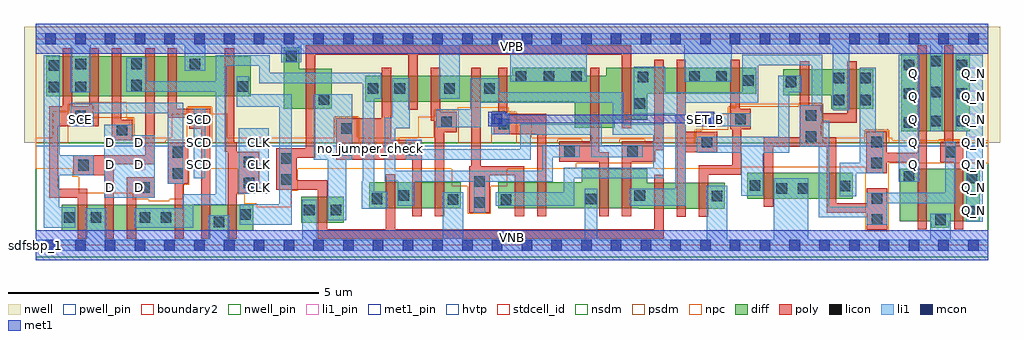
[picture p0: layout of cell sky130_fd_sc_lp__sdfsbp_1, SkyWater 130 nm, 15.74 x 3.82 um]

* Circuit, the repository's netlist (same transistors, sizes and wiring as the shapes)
* Copyright 2020 The SkyWater PDK Authors
*
* Licensed under the Apache License, Version 2.0 (the "License");
* you may not use this file except in compliance with the License.
* You may obtain a copy of the License at
*
*     https://www.apache.org/licenses/LICENSE-2.0
*
* Unless required by applicable law or agreed to in writing, software
* distributed under the License is distributed on an "AS IS" BASIS,
* WITHOUT WARRANTIES OR CONDITIONS OF ANY KIND, either express or implied.
* See the License for the specific language governing permissions and
* limitations under the License.
*
* SPDX-License-Identifier: Apache-2.0

.SUBCKT sky130_fd_sc_lp__sdfsbp_1 CLK D SCD SCE SET_B VGND VNB VPB VPWR Q Q_N
*.PININFO CLK:I D:I SCD:I SCE:I SET_B:I VGND:I VNB:I VPB:I VPWR:I Q:O
*.PININFO Q_N:O
MI645 sceb SCE VPWR VPB sky130_fd_pr__pfet_01v8_hvt m=1 w=0.64U l=0.15U mult=1
+ sa=0.265 sb=0.265 sd=0.28 area=0.063 perim=1.14
MI658 M1 M0 VPWR VPB sky130_fd_pr__pfet_01v8_hvt m=1 w=0.42U l=0.15U mult=1 sa=0.265
+ sb=0.265 sd=0.28 area=0.063 perim=1.14
MI47 clkpos clkneg VPWR VPB sky130_fd_pr__pfet_01v8_hvt m=1 w=0.64U l=0.15U mult=1
+ sa=0.265 sb=0.265 sd=0.28 area=0.063 perim=1.14
MI663 net210 S0 VPWR VPB sky130_fd_pr__pfet_01v8_hvt m=1 w=0.64U l=0.15U mult=1
+ sa=0.265 sb=0.265 sd=0.28 area=0.063 perim=1.14
MI660 Q net210 VPWR VPB sky130_fd_pr__pfet_01v8_hvt m=1 w=1.26U l=0.15U mult=1
+ sa=0.265 sb=0.265 sd=0.28 area=0.063 perim=1.14
MI659 M1 SET_B VPWR VPB sky130_fd_pr__pfet_01v8_hvt m=1 w=0.42U l=0.15U mult=1
+ sa=0.265 sb=0.265 sd=0.28 area=0.063 perim=1.14
MI661 Q_N S0 VPWR VPB sky130_fd_pr__pfet_01v8_hvt m=1 w=1.26U l=0.15U mult=1 sa=0.265
+ sb=0.265 sd=0.28 area=0.063 perim=1.14
MI662 net145 M1 VPWR VPB sky130_fd_pr__pfet_01v8_hvt m=1 w=0.42U l=0.15U mult=1
+ sa=0.265 sb=0.265 sd=0.28 area=0.063 perim=1.14
MI664 M0 clkneg net145 VPB sky130_fd_pr__pfet_01v8_hvt m=1 w=0.42U l=0.15U mult=1
+ sa=0.265 sb=0.265 sd=0.28 area=0.063 perim=1.14
MI6 net137 S1 VPWR VPB sky130_fd_pr__pfet_01v8_hvt m=1 w=0.42U l=0.15U mult=1 sa=0.265
+ sb=0.265 sd=0.28 area=0.063 perim=1.14
MI669 S0 clkpos net137 VPB sky130_fd_pr__pfet_01v8_hvt m=1 w=0.42U l=0.15U mult=1
+ sa=0.265 sb=0.265 sd=0.28 area=0.063 perim=1.14
MI24 S0 SET_B VPWR VPB sky130_fd_pr__pfet_01v8_hvt m=1 w=0.42U l=0.15U mult=1 sa=0.265
+ sb=0.265 sd=0.28 area=0.063 perim=1.14
MI648 S1 S0 VPWR VPB sky130_fd_pr__pfet_01v8_hvt m=1 w=0.42U l=0.15U mult=1 sa=0.265
+ sb=0.265 sd=0.28 area=0.063 perim=1.14
MI38 S0 clkneg net125 VPB sky130_fd_pr__pfet_01v8_hvt m=1 w=0.84U l=0.15U mult=1
+ sa=0.265 sb=0.265 sd=0.28 area=0.063 perim=1.14
MI37 net125 M0 VPWR VPB sky130_fd_pr__pfet_01v8_hvt m=1 w=0.84U l=0.15U mult=1
+ sa=0.265 sb=0.265 sd=0.28 area=0.063 perim=1.14
MI43 db clkpos M0 VPB sky130_fd_pr__pfet_01v8_hvt m=1 w=0.42U l=0.15U mult=1 sa=0.265
+ sb=0.265 sd=0.28 area=0.063 perim=1.14
MI45 clkneg CLK VPWR VPB sky130_fd_pr__pfet_01v8_hvt m=1 w=0.64U l=0.15U mult=1
+ sa=0.265 sb=0.265 sd=0.28 area=0.063 perim=1.14
MI101 db sceb p1 VPB sky130_fd_pr__pfet_01v8_hvt m=1 w=0.64U l=0.15U mult=1 sa=0.265
+ sb=0.265 sd=0.28 area=0.063 perim=1.14
MI107 p0 SCE VPWR VPB sky130_fd_pr__pfet_01v8_hvt m=1 w=0.64U l=0.15U mult=1 sa=0.265
+ sb=0.265 sd=0.28 area=0.063 perim=1.14
MI94 db D p0 VPB sky130_fd_pr__pfet_01v8_hvt m=1 w=0.64U l=0.15U mult=1 sa=0.265
+ sb=0.265 sd=0.28 area=0.063 perim=1.14
MI108 p1 SCD VPWR VPB sky130_fd_pr__pfet_01v8_hvt m=1 w=0.64U l=0.15U mult=1 sa=0.265
+ sb=0.265 sd=0.28 area=0.063 perim=1.14
MI34 S0 clkpos net261 VNB sky130_fd_pr__nfet_01v8 m=1 w=0.64U l=0.15U mult=1 sa=0.265
+ sb=0.265 sd=0.28 area=0.063 perim=1.14
MI27 net258 S1 net202 VNB sky130_fd_pr__nfet_01v8 m=1 w=0.42U l=0.15U mult=1 sa=0.265
+ sb=0.265 sd=0.28 area=0.063 perim=1.14
MI647 S1 S0 VGND VNB sky130_fd_pr__nfet_01v8 m=1 w=0.42U l=0.15U mult=1 sa=0.265
+ sb=0.265 sd=0.28 area=0.063 perim=1.14
MI655 M0 clkpos net249 VNB sky130_fd_pr__nfet_01v8 m=1 w=0.42U l=0.15U mult=1 sa=0.265
+ sb=0.265 sd=0.28 area=0.063 perim=1.14
MI656 M1 M0 net245 VNB sky130_fd_pr__nfet_01v8 m=1 w=0.42U l=0.15U mult=1 sa=0.265
+ sb=0.265 sd=0.28 area=0.063 perim=1.14
MI654 net249 M1 VGND VNB sky130_fd_pr__nfet_01v8 m=1 w=0.42U l=0.15U mult=1 sa=0.265
+ sb=0.265 sd=0.28 area=0.063 perim=1.14
MI36 net261 M0 VGND VNB sky130_fd_pr__nfet_01v8 m=1 w=0.64U l=0.15U mult=1 sa=0.265
+ sb=0.265 sd=0.28 area=0.063 perim=1.14
MI26 S0 clkneg net258 VNB sky130_fd_pr__nfet_01v8 m=1 w=0.42U l=0.15U mult=1 sa=0.265
+ sb=0.265 sd=0.28 area=0.063 perim=1.14
MI42 db clkneg M0 VNB sky130_fd_pr__nfet_01v8 m=1 w=0.42U l=0.15U mult=1 sa=0.265
+ sb=0.265 sd=0.28 area=0.063 perim=1.14
MI651 Q_N S0 VGND VNB sky130_fd_pr__nfet_01v8 m=1 w=0.84U l=0.15U mult=1 sa=0.265
+ sb=0.265 sd=0.28 area=0.063 perim=1.14
MI46 clkpos clkneg VGND VNB sky130_fd_pr__nfet_01v8 m=1 w=0.42U l=0.15U mult=1
+ sa=0.265 sb=0.265 sd=0.28 area=0.063 perim=1.14
MI44 clkneg CLK VGND VNB sky130_fd_pr__nfet_01v8 m=1 w=0.42U l=0.15U mult=1 sa=0.265
+ sb=0.265 sd=0.28 area=0.063 perim=1.14
MI657 net245 SET_B VGND VNB sky130_fd_pr__nfet_01v8 m=1 w=0.42U l=0.15U mult=1
+ sa=0.265 sb=0.265 sd=0.28 area=0.063 perim=1.14
MI652 net210 S0 VGND VNB sky130_fd_pr__nfet_01v8 m=1 w=0.42U l=0.15U mult=1 sa=0.265
+ sb=0.265 sd=0.28 area=0.063 perim=1.14
MI644 sceb SCE VGND VNB sky130_fd_pr__nfet_01v8 m=1 w=0.42U l=0.15U mult=1 sa=0.265
+ sb=0.265 sd=0.28 area=0.063 perim=1.14
MI25 net202 SET_B VGND VNB sky130_fd_pr__nfet_01v8 m=1 w=0.42U l=0.15U mult=1 sa=0.265
+ sb=0.265 sd=0.28 area=0.063 perim=1.14
MI653 Q net210 VGND VNB sky130_fd_pr__nfet_01v8 m=1 w=0.84U l=0.15U mult=1 sa=0.265
+ sb=0.265 sd=0.28 area=0.063 perim=1.14
MI98 db D n0 VNB sky130_fd_pr__nfet_01v8 m=1 w=0.42U l=0.15U mult=1 sa=0.265 sb=0.265
+ sd=0.28 area=0.525 perim=3.1
MI103 n1 SCD VGND VNB sky130_fd_pr__nfet_01v8 m=1 w=0.42U l=0.15U mult=1 sa=0.265
+ sb=0.265 sd=0.28 area=0.525 perim=3.1
MI120 db SCE n1 VNB sky130_fd_pr__nfet_01v8 m=1 w=0.42U l=0.15U mult=1 sa=0.265
+ sb=0.265 sd=0.28 area=0.525 perim=3.1
MI104 n0 sceb VGND VNB sky130_fd_pr__nfet_01v8 m=1 w=0.42U l=0.15U mult=1 sa=0.265
+ sb=0.265 sd=0.28 area=0.525 perim=3.1
.ENDS sky130_fd_sc_lp__sdfsbp_1

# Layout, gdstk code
import gdstk
lib = gdstk.Library(unit=1e-6, precision=1e-09)
def R(c, l, rs):  # rectangles x0, y0, x1, y1
    for r in rs: c.add(gdstk.rectangle(r[:2], r[2:], *l))
def A(c, l, x, y, w, h, nx, ny, dx, dy):  # array of equal rectangles
    R(c, l, [(x+i*dx, y+j*dy, x+i*dx+w, y+j*dy+h) for i in range(nx) for j in range(ny)])
def P(c, l, *ps):  # polygons
    for p in ps: c.add(gdstk.Polygon(p, *l))
nwell_pin = (64, 16)
nwell = (64, 20)
diff = (65, 20)
poly = (66, 20)
licon = (66, 44)
li1_pin = (67, 16)
li1 = (67, 20)
mcon = (67, 44)
met1_pin = (68, 16)
met1 = (68, 20)
hvtp = (78, 44)
stdcell_id = (81, 4)
nsdm = (93, 44)
psdm = (94, 20)
npc = (95, 20)
pwell_pin = (122, 16)
boundary2 = (236, 0)

sky130_fd_sc_lp__sdfsbp_ = lib.new_cell('sky130_fd_sc_lp__sdfsbp_1')
R(sky130_fd_sc_lp__sdfsbp_, nwell_pin, [(0,3.085,15.36,3.33)])
R(sky130_fd_sc_lp__sdfsbp_, nwell, [(-0.19,1.655,15.55,3.52)])
R(sky130_fd_sc_lp__sdfsbp_, diff, [(0.415,0.235,3.51,0.655), (4.285,0.365,4.965,0.785), (5.38,0.595,6.85,1.015), (11.475,0.75,13.175,1.17), (13.955,1.835,15.065,3.095), (0.17,2.405,3.465,3.045)])
P(sky130_fd_sc_lp__sdfsbp_, diff, [(4.77,2.845),(4.245,2.845),(4.245,3.195),(3.995,3.195),(3.995,2.205),(4.77,2.205)],
  [(13.505,2.84),(12.055,2.84),(12.055,2.42),(12.825,2.42),(12.825,2.2),(13.505,2.2)],
  [(15.225,1.23),(13.935,1.23),(13.935,0.39),(14.445,0.39),(14.445,0.28),(14.735,0.28),(14.735,0.39),(15.225,0.39)],
  [(11.11,1.01),(9.865,1.01),(9.865,1.235),(8.805,1.235),(8.805,1.015),(7.46,1.015),(7.46,0.595),(9.725,0.595),(9.725,0.59),(11.11,0.59)],
  [(11.615,2.86),(9.2,2.86),(9.2,2.735),(8.865,2.735),(8.865,2.86),(7.68,2.86),(7.68,2.735),(5.315,2.735),(5.315,2.315),(8.69,2.315),(8.69,1.895),(9.34,1.895),(9.34,2.02),(9.865,2.02),(9.865,2.44),(11.615,2.44)])
P(sky130_fd_sc_lp__sdfsbp_, poly, [(1.015,3.175),(0.865,3.175),(0.865,2.245),(0.585,2.245),(0.585,3.175),(0.435,3.175),(0.435,2.245),(0.215,2.245),(0.215,0.765),(0.68,0.765),(0.68,0.105),(0.83,0.105),(0.83,0.915),(0.365,0.915),(0.365,1.915),(1.015,1.915)],
  [(1.555,2.025),(1.375,2.025),(1.375,3.175),(1.225,3.175),(1.225,1.695),(1.555,1.695)],
  [(1.915,3.175),(1.765,3.175),(1.765,1.455),(0.605,1.455),(0.605,1.125),(1.11,1.125),(1.11,0.105),(1.26,0.105),(1.26,1.305),(1.915,1.305)],
  [(1.915,1.095),(1.47,1.095),(1.47,0.105),(1.62,0.105),(1.62,0.765),(1.915,0.765)],
  [(2.455,1.665),(2.125,1.665),(2.125,0.995),(2.24,0.995),(2.24,0.105),(2.39,0.105),(2.39,0.995),(2.455,0.995)],
  [(2.815,2.205),(2.275,2.205),(2.275,3.175),(2.125,3.175),(2.125,2.055),(2.475,2.055),(2.475,1.875),(2.665,1.875),(2.665,0.105),(2.815,0.105)],
  [(3.605,1.51),(3.245,1.51),(3.245,1.66),(3.2,1.66),(3.2,3.175),(3.05,3.175),(3.05,1.51),(3.095,1.51),(3.095,0.105),(3.245,0.105),(3.245,0.84),(3.605,0.84)],
  [(6.225,1.705),(5.73,1.705),(5.73,2.865),(5.58,2.865),(5.58,2.045),(4.845,2.045),(4.845,1.375),(6.075,1.375),(6.075,0.465),(6.225,0.465)],
  [(6.785,2.155),(6.52,2.155),(6.52,2.865),(6.37,2.865),(6.37,2.005),(6.435,2.005),(6.435,0.465),(6.585,0.465),(6.585,1.825),(6.785,1.825)],
  [(7.875,1.275),(7.175,1.275),(7.175,2.865),(7.025,2.865),(7.025,1.275),(6.99,1.275),(6.99,0.525),(7.32,0.525),(7.32,1.125),(7.725,1.125),(7.725,0.465),(7.875,0.465)],
  [(8.235,2.12),(7.605,2.12),(7.605,2.865),(7.455,2.865),(7.455,2.12),(7.385,2.12),(7.385,1.79),(8.085,1.79),(8.085,0.465),(8.235,0.465)],
  [(9.24,1.5),(9.09,1.5),(9.09,2.865),(8.94,2.865),(8.94,1.68),(8.445,1.68),(8.445,1.35),(9.09,1.35),(9.09,0.465),(9.24,0.465)],
  [(10.125,2.99),(9.975,2.99),(9.975,1.68),(9.45,1.68),(9.45,0.465),(9.6,0.465),(9.6,1.35),(9.99,1.35),(9.99,1.53),(10.125,1.53)],
  [(10.125,1.14),(9.975,1.14),(9.975,0.255),(5.795,0.255),(5.795,1.145),(5.645,1.145),(5.645,0.255),(4.7,0.255),(4.7,1.045),(4.205,1.045),(4.205,1.415),(4.505,1.415),(4.505,3.075),(6.01,3.075),(6.01,2.185),(6.16,2.185),(6.16,3.075),(9.45,3.075),(9.45,1.89),(9.6,1.89),(9.6,3.225),(4.355,3.225),(4.355,1.565),(3.875,1.565),(3.875,0.895),(4.55,0.895),(4.55,0.105),(10.125,0.105)],
  [(10.99,1.83),(10.485,1.83),(10.485,2.99),(10.335,2.99),(10.335,0.46),(10.485,0.46),(10.485,1.5),(10.99,1.5)],
  [(11.53,2.2),(11.35,2.2),(11.35,2.99),(11.2,2.99),(11.2,1.87),(11.23,1.87),(11.23,1.29),(10.695,1.29),(10.695,0.46),(10.845,0.46),(10.845,1.14),(11.38,1.14),(11.38,1.87),(11.53,1.87)],
  [(14.96,1.67),(14.8,1.67),(14.8,3.225),(14.65,3.225),(14.65,1.67),(14.585,1.67),(14.585,1.34),(14.81,1.34),(14.81,0.26),(14.96,0.26)],
  [(13.735,0.92),(13.405,0.92),(13.405,0.675),(12.91,0.675),(12.91,1.74),(12.665,1.74),(12.665,1.975),(13.24,1.975),(13.24,2.97),(13.09,2.97),(13.09,2.125),(12.665,2.125),(12.665,2.26),(12.47,2.26),(12.47,2.97),(12.32,2.97),(12.32,1.74),(11.74,1.74),(11.74,0.62),(11.89,0.62),(11.89,1.59),(12.76,1.59),(12.76,0.525),(13.405,0.525),(13.405,0.25),(13.735,0.25)],
  [(14.37,3.225),(14.22,3.225),(14.22,1.49),(13.725,1.49),(13.725,1.83),(13.395,1.83),(13.395,1.16),(13.725,1.16),(13.725,1.34),(14.22,1.34),(14.22,0.26),(14.37,0.26)])
A(sky130_fd_sc_lp__sdfsbp_, licon, 13.995, 1.895, 0.17, 0.17, 1, 3, 0, 0.465)
R(sky130_fd_sc_lp__sdfsbp_, licon, [(2.87,0.29,3.04,0.46), (14.505,0.32,14.675,0.49), (13.485,0.33,13.655,0.5), (0.455,0.36,0.625,0.53), (0.885,0.36,1.055,0.53), (1.675,0.36,1.845,0.53), (2.015,0.36,2.185,0.53), (3.3,0.41,3.47,0.58), (15.015,0.46,15.185,0.63), (4.325,0.48,4.495,0.65), (4.755,0.48,4.925,0.65), (7.07,0.605,7.24,0.775), (6.64,0.655,6.81,0.825), (7.5,0.655,7.67,0.825), (8.865,0.66,9.035,0.83), (5.42,0.665,5.59,0.835), (13.485,0.67,13.655,0.84), (10.9,0.71,11.07,0.88), (5.85,0.72,6.02,0.89), (9.655,0.72,9.825,0.89), (11.945,0.83,12.115,1), (12.285,0.83,12.455,1), (1.665,0.845,1.835,1.015), (12.965,0.87,13.135,1.04), (11.515,0.875,11.685,1.045), (3.355,0.92,3.525,1.09), (7.07,0.945,7.24,1.115), (3.955,0.975,4.125,1.145), (15.015,1,15.185,1.17), (13.995,1.02,14.165,1.19), (2.205,1.075,2.375,1.245), (0.685,1.205,0.855,1.375), (13.475,1.24,13.645,1.41), (3.355,1.26,3.525,1.43), (3.955,1.315,4.125,1.485), (2.205,1.415,2.375,1.585), (14.665,1.42,14.835,1.59), (8.525,1.43,8.695,1.6), (9.54,1.43,9.71,1.6), (4.925,1.455,5.095,1.625), (5.975,1.455,6.145,1.625), (10.74,1.58,10.91,1.75), (13.475,1.58,13.645,1.75), (12.415,1.67,12.585,1.84), (1.305,1.775,1.475,1.945), (4.925,1.795,5.095,1.965), (7.465,1.87,7.635,2.04), (6.535,1.905,6.705,2.075), (14.425,1.92,14.595,2.09), (14.855,1.92,15.025,2.09), (11.28,1.95,11.45,2.12), (2.555,1.955,2.725,2.125), (0.635,1.995,0.805,2.165), (12.415,2.01,12.585,2.18), (9.655,2.2,9.825,2.37), (12.865,2.26,13.035,2.43), (13.295,2.26,13.465,2.43), (4.56,2.265,4.73,2.435), (14.855,2.36,15.025,2.53), (14.425,2.385,14.595,2.555), (5.355,2.44,5.525,2.61), (5.785,2.44,5.955,2.61), (6.585,2.44,6.755,2.61), (7.23,2.44,7.4,2.61), (0.21,2.465,0.38,2.635), (0.64,2.465,0.81,2.635), (3.255,2.475,3.425,2.645), (1.54,2.495,1.71,2.665), (12.095,2.545,12.265,2.715), (11.405,2.57,11.575,2.74), (12.865,2.61,13.035,2.78), (13.295,2.61,13.465,2.78), (9.705,2.63,9.875,2.8), (7.74,2.64,7.91,2.81), (8.19,2.64,8.36,2.81), (8.635,2.64,8.805,2.81), (10.54,2.64,10.71,2.81), (10.975,2.64,11.145,2.81), (0.21,2.815,0.38,2.985), (14.855,2.825,15.025,2.995), (0.64,2.835,0.81,3.005), (1.54,2.835,1.71,3.005), (2.485,2.835,2.655,3.005), (14.425,2.885,14.595,3.055), (4.035,2.965,4.205,3.135)])
A(sky130_fd_sc_lp__sdfsbp_, li1_pin, 15.035, 0.47, 0.17, 0.17, 1, 7, 0, 0.37)
A(sky130_fd_sc_lp__sdfsbp_, li1_pin, 1.115, 0.84, 0.17, 0.17, 1, 3, 0, 0.37)
A(sky130_fd_sc_lp__sdfsbp_, li1_pin, 1.595, 1.21, 0.17, 0.17, 3, 2, 0.96, 0.37)
A(sky130_fd_sc_lp__sdfsbp_, li1_pin, 14.075, 1.21, 0.17, 0.17, 1, 5, 0, 0.37)
R(sky130_fd_sc_lp__sdfsbp_, li1_pin, [(1.595,0.84,1.765,1.01), (3.515,0.84,3.685,1.01), (0.635,1.95,0.805,2.12), (2.555,1.95,2.725,2.12)])
R(sky130_fd_sc_lp__sdfsbp_, li1, [(3.275,0.83,3.755,1.885), (13.915,1.02,14.25,3.075), (2.545,1.08,2.735,2.205), (7.345,1.79,7.645,2.13), (10.65,1.92,11.53,2.13)])
P(sky130_fd_sc_lp__sdfsbp_, li1, [(15.36,0.085),(14.755,0.085),(14.755,0.51),(14.425,0.51),(14.425,0.085),(12.455,0.085),(12.455,1.08),(11.9,1.08),(11.9,0.085),(11.15,0.085),(11.15,0.96),(10.82,0.96),(10.82,0.085),(9.055,0.085),(9.055,0.91),(8.855,0.91),(8.855,0.085),(6.89,0.085),(6.89,0.855),(6.56,0.855),(6.56,0.085),(4.535,0.085),(4.535,0.73),(4.295,0.73),(4.295,0.085),(3.12,0.085),(3.12,0.485),(2.79,0.485),(2.79,0.085),(1.135,0.085),(1.135,0.595),(0.805,0.595),(0.805,0.085),(0,0.085),(0,-0.085),(15.36,-0.085)],
  [(1.915,1.775),(1.555,1.775),(1.555,1.945),(1.105,1.945),(1.105,0.765),(1.915,0.765)],
  [(2.375,2.295),(0.56,2.295),(0.56,1.915),(0.935,1.915),(0.935,2.125),(2.125,2.125),(2.125,0.995),(2.375,0.995)],
  [(9.79,1.61),(9.125,1.61),(9.125,1.95),(7.815,1.95),(7.815,1.545),(6.225,1.545),(6.225,1.705),(5.965,1.705),(5.965,1.375),(7.985,1.375),(7.985,1.78),(8.955,1.78),(8.955,1.42),(9.79,1.42)],
  [(15.275,3.075),(14.835,3.075),(14.835,1.84),(15.005,1.84),(15.005,0.38),(15.275,0.38)],
  [(13.665,1.83),(13.545,1.83),(13.545,2.86),(13.285,2.86),(13.285,1.33),(12.965,1.33),(12.965,0.79),(13.235,0.79),(13.235,1.16),(13.665,1.16)],
  [(14.835,1.67),(14.665,1.67),(14.665,0.85),(13.405,0.85),(13.405,0.62),(12.795,0.62),(12.795,2.01),(12.685,2.01),(12.685,3.075),(11.395,3.075),(11.395,2.47),(10.15,2.47),(10.15,2.88),(9.645,2.88),(9.645,2.12),(10.31,2.12),(10.31,0.91),(9.575,0.91),(9.575,0.64),(10.48,0.64),(10.48,2.3),(11.655,2.3),(11.655,2.905),(12.515,2.905),(12.515,2.26),(12.32,2.26),(12.32,1.59),(12.625,1.59),(12.625,0.45),(13.405,0.45),(13.405,0.33),(13.735,0.33),(13.735,0.68),(14.835,0.68)],
  [(10.13,1.95),(9.475,1.95),(9.475,2.47),(7.48,2.47),(7.48,2.69),(7.005,2.69),(7.005,2.19),(6.455,2.19),(6.455,1.905),(7.175,1.905),(7.175,2.3),(9.305,2.3),(9.305,1.78),(9.96,1.78),(9.96,1.25),(8.515,1.25),(8.515,0.855),(7.42,0.855),(7.42,0.635),(8.685,0.635),(8.685,1.08),(10.13,1.08)],
  [(15.36,3.415),(0,3.415),(0,3.245),(0.56,3.245),(0.56,2.465),(0.89,2.465),(0.89,3.245),(2.405,3.245),(2.405,2.815),(2.735,2.815),(2.735,3.245),(3.955,3.245),(3.955,2.955),(4.285,2.955),(4.285,3.245),(6.505,3.245),(6.505,2.36),(6.835,2.36),(6.835,3.245),(7.65,3.245),(7.65,2.64),(8.885,2.64),(8.885,3.245),(10.46,3.245),(10.46,2.64),(11.225,2.64),(11.225,3.245),(12.855,3.245),(12.855,2.18),(13.115,2.18),(13.115,3.245),(14.425,3.245),(14.425,1.84),(14.615,1.84),(14.615,3.245),(15.36,3.245)],
  [(12.345,2.735),(11.975,2.735),(11.975,1.75),(10.66,1.75),(10.66,1.495),(11.375,1.495),(11.375,0.795),(11.73,0.795),(11.73,1.495),(12.15,1.495),(12.15,2.465),(12.345,2.465)],
  [(8.775,1.61),(8.165,1.61),(8.165,1.205),(5.795,1.205),(5.795,1.885),(6.035,1.885),(6.035,2.69),(5.745,2.69),(5.745,2.055),(5.625,2.055),(5.625,1.035),(5.84,1.035),(5.84,0.64),(6.1,0.64),(6.1,1.025),(7.06,1.025),(7.06,0.525),(7.25,0.525),(7.25,1.025),(8.335,1.025),(8.335,1.42),(8.775,1.42)],
  [(5.67,0.865),(5.455,0.865),(5.455,2.36),(5.575,2.36),(5.575,2.785),(3.775,2.785),(3.775,3.065),(2.905,3.065),(2.905,2.645),(1.79,2.645),(1.79,3.025),(1.46,3.025),(1.46,2.475),(2.905,2.475),(2.905,0.825),(2.37,0.825),(2.37,0.595),(1.595,0.595),(1.595,0.28),(2.54,0.28),(2.54,0.655),(3.075,0.655),(3.075,2.895),(3.605,2.895),(3.605,2.615),(5.275,2.615),(5.275,1.035),(5.255,1.035),(5.255,0.585),(5.67,0.585)],
  [(4.125,2.435),(3.435,2.435),(3.435,2.725),(3.245,2.725),(3.245,2.23),(3.925,2.23),(3.925,0.66),(3.29,0.66),(3.29,0.33),(4.125,0.33)],
  [(0.935,1.455),(0.39,1.455),(0.39,3.065),(0.13,3.065),(0.13,0.28),(0.635,0.28),(0.635,0.61),(0.38,0.61),(0.38,1.125),(0.935,1.125)],
  [(5.105,2.435),(4.48,2.435),(4.48,1.375),(4.705,1.375),(4.705,0.4),(5.005,0.4),(5.005,1.375),(5.105,1.375)])
A(sky130_fd_sc_lp__sdfsbp_, mcon, 0.155, -0.085, 0.17, 0.17, 32, 2, 0.48, 3.33)
R(sky130_fd_sc_lp__sdfsbp_, mcon, [(7.355,1.95,7.525,2.12), (10.715,1.95,10.885,2.12)])
R(sky130_fd_sc_lp__sdfsbp_, met1_pin, [(0,0,15.36,0.245), (10.715,1.95,10.885,2.12), (0,3.085,15.36,3.33)])
R(sky130_fd_sc_lp__sdfsbp_, met1, [(0,-0.245,15.36,0.245), (0,3.085,15.36,3.575)])
P(sky130_fd_sc_lp__sdfsbp_, met1, [(7.585,2.105),(10.655,2.105),(10.655,2.15),(10.945,2.15),(10.945,1.92),(10.655,1.92),(10.655,1.965),(7.585,1.965),(7.585,1.92),(7.295,1.92),(7.295,2.15),(7.585,2.15)])
R(sky130_fd_sc_lp__sdfsbp_, hvtp, [(0,1.6,15.36,3.33)])
R(sky130_fd_sc_lp__sdfsbp_, stdcell_id, [(0,0,15.36,3.33)])
R(sky130_fd_sc_lp__sdfsbp_, nsdm, [(0,-0.19,15.36,1.655)])
P(sky130_fd_sc_lp__sdfsbp_, psdm, [(15.36,3.52),(0,3.52),(0,1.655),(0.525,1.655),(0.525,2.275),(0.915,2.275),(0.915,2.055),(1.585,2.055),(1.585,1.655),(2.095,1.655),(2.095,1.695),(2.445,1.695),(2.445,2.235),(2.835,2.235),(2.835,1.655),(4.815,1.655),(4.815,2.075),(5.205,2.075),(5.205,1.655),(5.865,1.655),(5.865,1.735),(6.425,1.735),(6.425,2.185),(6.815,2.185),(6.815,1.655),(7.355,1.655),(7.355,2.15),(7.745,2.15),(7.745,1.655),(8.415,1.655),(8.415,1.71),(8.805,1.71),(8.805,1.655),(9.42,1.655),(9.42,1.71),(9.82,1.71),(9.82,1.655),(10.63,1.655),(10.63,1.86),(11.17,1.86),(11.17,2.23),(12.305,2.23),(12.305,2.29),(12.695,2.29),(12.695,1.655),(13.365,1.655),(13.365,1.86),(13.755,1.86),(13.755,1.655),(14.555,1.655),(14.555,1.7),(14.945,1.7),(14.945,1.655),(15.36,1.655)])
P(sky130_fd_sc_lp__sdfsbp_, npc, [(15.36,1.695),(13.815,1.695),(13.815,1.73),(13.745,1.73),(13.745,1.85),(13.375,1.85),(13.375,1.73),(12.685,1.73),(12.685,2.28),(11.285,2.28),(11.285,2.22),(11.18,2.22),(11.18,2.115),(10.745,2.115),(10.745,1.85),(10.64,1.85),(10.64,1.73),(8,1.73),(8,2.035),(7.735,2.035),(7.735,2.14),(7.63,2.14),(7.63,2.225),(6.805,2.225),(6.805,2.175),(6.435,2.175),(6.435,2.07),(6.17,2.07),(6.17,1.73),(5.195,1.73),(5.195,2.065),(4.825,2.065),(4.825,1.73),(3.09,1.73),(3.09,2.12),(2.825,2.12),(2.825,2.225),(2.455,2.225),(2.455,2.12),(2.19,2.12),(2.19,1.73),(1.575,1.73),(1.575,2.045),(1.47,2.045),(1.47,2.31),(0.64,2.31),(0.64,2.265),(0.535,2.265),(0.535,2.16),(0.27,2.16),(0.27,1.73),(0,1.73),(0,1.23),(0.585,1.23),(0.585,1.105),(0.69,1.105),(0.69,0.84),(1.565,0.84),(1.565,0.745),(1.825,0.745),(1.825,0.71),(2.15,0.71),(2.15,0.745),(2.37,0.745),(2.37,0.975),(2.475,0.975),(2.475,1.23),(3.255,1.23),(3.255,0.82),(3.36,0.82),(3.36,0.67),(3.56,0.67),(3.56,0.61),(4.12,0.61),(4.12,0.875),(4.225,0.875),(4.225,1.23),(6.705,1.23),(6.705,0.95),(6.97,0.95),(6.97,0.505),(7.34,0.505),(7.34,0.95),(7.605,0.95),(7.605,1.23),(8.715,1.23),(8.715,1.325),(9.955,1.325),(9.955,1.23),(11.385,1.23),(11.385,1.26),(13.375,1.26),(13.375,0.225),(13.755,0.225),(13.755,1.32),(15.36,1.32)])
R(sky130_fd_sc_lp__sdfsbp_, pwell_pin, [(0,0,15.36,0.245)])
R(sky130_fd_sc_lp__sdfsbp_, boundary2, [(0,0,15.36,3.33)])
sky130_fd_sc_lp__sdfsbp_.add(gdstk.Label('VNB', (7.68,0.123), layer=64, texttype=59))
sky130_fd_sc_lp__sdfsbp_.add(gdstk.Label('VPB', (7.68,3.208), layer=64, texttype=5))
sky130_fd_sc_lp__sdfsbp_.add(gdstk.Label('sdfsbp_1', (0,0), layer=83, texttype=44))
sky130_fd_sc_lp__sdfsbp_.add(gdstk.Label('no_jumper_check', (5.4,1.56), layer=83, texttype=44))
sky130_fd_sc_lp__sdfsbp_.add(gdstk.Label('SET_B', (10.8,2.035), layer=68, texttype=5))
sky130_fd_sc_lp__sdfsbp_.add(gdstk.Label('VPWR', (7.68,3.208), layer=68, texttype=5))
sky130_fd_sc_lp__sdfsbp_.add(gdstk.Label('VGND', (7.68,0.123), layer=68, texttype=5))
sky130_fd_sc_lp__sdfsbp_.add(gdstk.Label('CLK', (3.6,0.925), layer=67, texttype=5))
sky130_fd_sc_lp__sdfsbp_.add(gdstk.Label('CLK', (3.6,1.295), layer=67, texttype=5))
sky130_fd_sc_lp__sdfsbp_.add(gdstk.Label('CLK', (3.6,1.665), layer=67, texttype=5))
sky130_fd_sc_lp__sdfsbp_.add(gdstk.Label('SCE', (0.72,2.035), layer=67, texttype=5))
sky130_fd_sc_lp__sdfsbp_.add(gdstk.Label('SCD', (2.64,1.295), layer=67, texttype=5))
sky130_fd_sc_lp__sdfsbp_.add(gdstk.Label('SCD', (2.64,1.665), layer=67, texttype=5))
sky130_fd_sc_lp__sdfsbp_.add(gdstk.Label('SCD', (2.64,2.035), layer=67, texttype=5))
sky130_fd_sc_lp__sdfsbp_.add(gdstk.Label('D', (1.2,0.925), layer=67, texttype=5))
sky130_fd_sc_lp__sdfsbp_.add(gdstk.Label('D', (1.2,1.295), layer=67, texttype=5))
sky130_fd_sc_lp__sdfsbp_.add(gdstk.Label('D', (1.2,1.665), layer=67, texttype=5))
sky130_fd_sc_lp__sdfsbp_.add(gdstk.Label('D', (1.68,0.925), layer=67, texttype=5))
sky130_fd_sc_lp__sdfsbp_.add(gdstk.Label('D', (1.68,1.295), layer=67, texttype=5))
sky130_fd_sc_lp__sdfsbp_.add(gdstk.Label('D', (1.68,1.665), layer=67, texttype=5))
sky130_fd_sc_lp__sdfsbp_.add(gdstk.Label('Q', (14.16,1.295), layer=67, texttype=5))
sky130_fd_sc_lp__sdfsbp_.add(gdstk.Label('Q', (14.16,1.665), layer=67, texttype=5))
sky130_fd_sc_lp__sdfsbp_.add(gdstk.Label('Q', (14.16,2.035), layer=67, texttype=5))
sky130_fd_sc_lp__sdfsbp_.add(gdstk.Label('Q', (14.16,2.405), layer=67, texttype=5))
sky130_fd_sc_lp__sdfsbp_.add(gdstk.Label('Q', (14.16,2.775), layer=67, texttype=5))
sky130_fd_sc_lp__sdfsbp_.add(gdstk.Label('Q_N', (15.12,0.555), layer=67, texttype=5))
sky130_fd_sc_lp__sdfsbp_.add(gdstk.Label('Q_N', (15.12,0.925), layer=67, texttype=5))
sky130_fd_sc_lp__sdfsbp_.add(gdstk.Label('Q_N', (15.12,1.295), layer=67, texttype=5))
sky130_fd_sc_lp__sdfsbp_.add(gdstk.Label('Q_N', (15.12,1.665), layer=67, texttype=5))
sky130_fd_sc_lp__sdfsbp_.add(gdstk.Label('Q_N', (15.12,2.035), layer=67, texttype=5))
sky130_fd_sc_lp__sdfsbp_.add(gdstk.Label('Q_N', (15.12,2.405), layer=67, texttype=5))
sky130_fd_sc_lp__sdfsbp_.add(gdstk.Label('Q_N', (15.12,2.775), layer=67, texttype=5))

lib.write_gds('sky130_fd_sc_lp__sdfsbp_1.gds')
